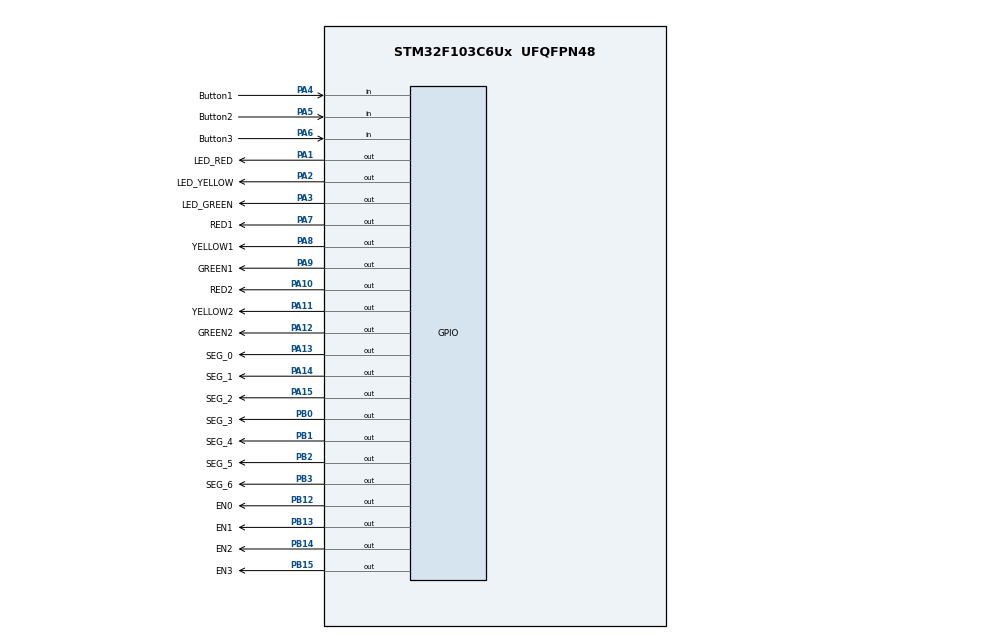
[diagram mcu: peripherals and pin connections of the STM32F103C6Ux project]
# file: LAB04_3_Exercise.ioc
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Mcu.Family=STM32F1
Mcu.Name=STM32F103C6Ux
Mcu.Package=UFQFPN48
NVIC.PriorityGroup=NVIC_PRIORITYGROUP_4
NVIC.TIM2_IRQn=true\:0\:0\:false\:false\:true\:true\:true
PA1.GPIO_Label=LED_RED
PA1.Signal=GPIO_Output
PA10.GPIO_Label=RED2
PA10.Signal=GPIO_Output
PA11.GPIO_Label=YELLOW2
PA11.Signal=GPIO_Output
PA12.GPIO_Label=GREEN2
PA12.Signal=GPIO_Output
PA13.GPIO_Label=SEG_0
PA13.Signal=GPIO_Output
PA14.GPIO_Label=SEG_1
PA14.Signal=GPIO_Output
PA15.GPIO_Label=SEG_2
PA15.Signal=GPIO_Output
PA2.GPIO_Label=LED_YELLOW
PA2.Signal=GPIO_Output
PA3.GPIO_Label=LED_GREEN
PA3.Signal=GPIO_Output
PA4.GPIO_Label=Button1
PA4.GPIO_PuPd=GPIO_PULLUP
PA4.Signal=GPIO_Input
PA5.GPIO_Label=Button2
PA5.GPIO_PuPd=GPIO_PULLUP
PA5.Signal=GPIO_Input
PA6.GPIO_Label=Button3
PA6.GPIO_PuPd=GPIO_PULLUP
PA6.Signal=GPIO_Input
PA7.GPIO_Label=RED1
PA7.Signal=GPIO_Output
PA8.GPIO_Label=YELLOW1
PA8.Signal=GPIO_Output
PA9.GPIO_Label=GREEN1
PA9.Signal=GPIO_Output
PB0.GPIO_Label=SEG_3
PB0.Signal=GPIO_Output
PB1.GPIO_Label=SEG_4
PB1.Signal=GPIO_Output
PB12.GPIO_Label=EN0
PB12.Signal=GPIO_Output
PB13.GPIO_Label=EN1
PB13.Signal=GPIO_Output
PB14.GPIO_Label=EN2
PB14.Signal=GPIO_Output
PB15.GPIO_Label=EN3
PB15.Signal=GPIO_Output
PB2.GPIO_Label=SEG_5
PB2.Signal=GPIO_Output
PB3.GPIO_Label=SEG_6
PB3.Signal=GPIO_Output
ProjectManager.HeapSize=0x200
ProjectManager.StackSize=0x400
ProjectManager.TargetToolchain=STM32CubeIDE
RCC.APB1Freq_Value=8000000
RCC.APB2Freq_Value=8000000
TIM2.Period=9
TIM2.Prescaler=7999
VP_SYS_VS_ND.Mode=No_Debug
VP_TIM2_VS_ClockSourceINT.Mode=Internal
board=custom

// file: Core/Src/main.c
/* USER CODE BEGIN Header */
/**
  ******************************************************************************
  * @file           : main.c
  * @brief          : Main program body
  ******************************************************************************
  * @attention
  *
  * <h2><center>&copy; Copyright (c) 2024 STMicroelectronics.
  * All rights reserved.</center></h2>
  *
  * This software component is licensed by ST under BSD 3-Clause license,
  * the "License"; You may not use this file except in compliance with the
  * License. You may obtain a copy of the License at:
  *                        opensource.org/licenses/BSD-3-Clause
  *
  ******************************************************************************
  */
/* USER CODE END Header */
#include "main.h"

/* USER CODE BEGIN Includes */
#include "software_timer.h"
#include "button.h"
#include "fsm_automatic.h"
#include "fsm_manual.h"
#include "fsm_setting.h"
#include "led7_segment.h"
#include "global.h"
#include "scheduler.h"
/* USER CODE END Includes */

TIM_HandleTypeDef htim2;

void SystemClock_Config(void);
static void MX_GPIO_Init(void);
static void MX_TIM2_Init(void);

/* USER CODE BEGIN 0 */
void leddebug(){
	  HAL_GPIO_TogglePin(LED_RED_GPIO_Port, LED_RED_Pin);
}
/* USER CODE END 0 */

int main(void)
{

  /* MCU Configuration--------------------------------------------------------*/

  /* Reset of all peripherals, Initializes the Flash interface and the Systick. */
  HAL_Init();

  /* Configure the system clock */
  SystemClock_Config();

  /* Initialize all configured peripherals */
  MX_GPIO_Init();
  MX_TIM2_Init();
  /* USER CODE BEGIN 2 */
  HAL_TIM_Base_Start_IT(&htim2);
  SCH_Init();
  System_Initilization();
  /* USER CODE END 2 */

  /* Infinite loop */
  /* USER CODE BEGIN WHILE */
  SCH_Add_Task(leddebug, 0, 500);
  SCH_Add_Task(getKeyInput, 1, 10);

  SCH_Add_Task(fsm_setting_run, 2, 10);
  SCH_Add_Task(fsm_automatic_run, 3, 10);
  //SCH_Add_Task(display_led7seg, 5, 250);
  SCH_Add_Task(fsm_manual_run, 4, 10);
  //STATUS_7SEG = INIT;
  //STATUS_MODE = MODE1;
  //STATUS_MODE = MODE2;
  while (1)
  {
    /* USER CODE END WHILE */

    /* USER CODE BEGIN 3 */

	  // TEST BUTTON
//	  if(isButtonPressed(0) == 1) {
//		  HAL_GPIO_TogglePin(LED_YELLOW_GPIO_Port, LED_YELLOW_Pin);
//	  }
//	  if(isButtonPressed(1) == 1) {
//		  HAL_GPIO_TogglePin(LED_YELLOW_GPIO_Port, LED_YELLOW_Pin);
//	  }
//	  if(isButtonPressed(2) == 1) {
//		  HAL_GPIO_TogglePin(LED_YELLOW_GPIO_Port, LED_YELLOW_Pin);
//	  }
	  SCH_Dispatch_Tasks();
  }
  /* USER CODE END 3 */
}

void SystemClock_Config(void)
{
  RCC_OscInitTypeDef RCC_OscInitStruct = {0};
  RCC_ClkInitTypeDef RCC_ClkInitStruct = {0};

  /** Initializes the RCC Oscillators according to the specified parameters
  * in the RCC_OscInitTypeDef structure.
  */
  RCC_OscInitStruct.OscillatorType = RCC_OSCILLATORTYPE_HSI;
  RCC_OscInitStruct.HSIState = RCC_HSI_ON;
  RCC_OscInitStruct.HSICalibrationValue = RCC_HSICALIBRATION_DEFAULT;
  RCC_OscInitStruct.PLL.PLLState = RCC_PLL_NONE;
  if (HAL_RCC_OscConfig(&RCC_OscInitStruct) != HAL_OK)
  {
    Error_Handler();
  }
  /** Initializes the CPU, AHB and APB buses clocks
  */
  RCC_ClkInitStruct.ClockType = RCC_CLOCKTYPE_HCLK|RCC_CLOCKTYPE_SYSCLK
                              |RCC_CLOCKTYPE_PCLK1|RCC_CLOCKTYPE_PCLK2;
  RCC_ClkInitStruct.SYSCLKSource = RCC_SYSCLKSOURCE_HSI;
  RCC_ClkInitStruct.AHBCLKDivider = RCC_SYSCLK_DIV1;
  RCC_ClkInitStruct.APB1CLKDivider = RCC_HCLK_DIV1;
  RCC_ClkInitStruct.APB2CLKDivider = RCC_HCLK_DIV1;

  if (HAL_RCC_ClockConfig(&RCC_ClkInitStruct, FLASH_LATENCY_0) != HAL_OK)
  {
    Error_Handler();
  }
}

static void MX_TIM2_Init(void)
{

  TIM_ClockConfigTypeDef sClockSourceConfig = {0};
  TIM_MasterConfigTypeDef sMasterConfig = {0};

  htim2.Instance = TIM2;
  htim2.Init.Prescaler = 7999;
  htim2.Init.CounterMode = TIM_COUNTERMODE_UP;
  htim2.Init.Period = 9;
  htim2.Init.ClockDivision = TIM_CLOCKDIVISION_DIV1;
  htim2.Init.AutoReloadPreload = TIM_AUTORELOAD_PRELOAD_DISABLE;
  if (HAL_TIM_Base_Init(&htim2) != HAL_OK)
  {
    Error_Handler();
  }
  sClockSourceConfig.ClockSource = TIM_CLOCKSOURCE_INTERNAL;
  if (HAL_TIM_ConfigClockSource(&htim2, &sClockSourceConfig) != HAL_OK)
  {
    Error_Handler();
  }
  sMasterConfig.MasterOutputTrigger = TIM_TRGO_RESET;
  sMasterConfig.MasterSlaveMode = TIM_MASTERSLAVEMODE_DISABLE;
  if (HAL_TIMEx_MasterConfigSynchronization(&htim2, &sMasterConfig) != HAL_OK)
  {
    Error_Handler();
  }

}

static void MX_GPIO_Init(void)
{
  GPIO_InitTypeDef GPIO_InitStruct = {0};

  /* GPIO Ports Clock Enable */
  __HAL_RCC_GPIOA_CLK_ENABLE();
  __HAL_RCC_GPIOB_CLK_ENABLE();

  /*Configure GPIO pin Output Level */
  HAL_GPIO_WritePin(GPIOA, LED_RED_Pin|LED_YELLOW_Pin|LED_GREEN_Pin|RED1_Pin
                          |YELLOW1_Pin|GREEN1_Pin|RED2_Pin|YELLOW2_Pin
                          |GREEN2_Pin|SEG_0_Pin|SEG_1_Pin|SEG_2_Pin, GPIO_PIN_RESET);

  /*Configure GPIO pin Output Level */
  HAL_GPIO_WritePin(GPIOB, SEG_3_Pin|SEG_4_Pin|SEG_5_Pin|EN0_Pin
                          |EN1_Pin|EN2_Pin|EN3_Pin|SEG_6_Pin, GPIO_PIN_RESET);

  /*Configure GPIO pins : LED_RED_Pin LED_YELLOW_Pin LED_GREEN_Pin RED1_Pin
                           YELLOW1_Pin GREEN1_Pin RED2_Pin YELLOW2_Pin
                           GREEN2_Pin SEG_0_Pin SEG_1_Pin SEG_2_Pin */
  GPIO_InitStruct.Pin = LED_RED_Pin|LED_YELLOW_Pin|LED_GREEN_Pin|RED1_Pin
                          |YELLOW1_Pin|GREEN1_Pin|RED2_Pin|YELLOW2_Pin
                          |GREEN2_Pin|SEG_0_Pin|SEG_1_Pin|SEG_2_Pin;
  GPIO_InitStruct.Mode = GPIO_MODE_OUTPUT_PP;
  GPIO_InitStruct.Pull = GPIO_NOPULL;
  GPIO_InitStruct.Speed = GPIO_SPEED_FREQ_LOW;
  HAL_GPIO_Init(GPIOA, &GPIO_InitStruct);

  /*Configure GPIO pins : Button1_Pin Button2_Pin Button3_Pin */
  GPIO_InitStruct.Pin = Button1_Pin|Button2_Pin|Button3_Pin;
  GPIO_InitStruct.Mode = GPIO_MODE_INPUT;
  GPIO_InitStruct.Pull = GPIO_PULLUP;
  HAL_GPIO_Init(GPIOA, &GPIO_InitStruct);

  /*Configure GPIO pins : SEG_3_Pin SEG_4_Pin SEG_5_Pin EN0_Pin
                           EN1_Pin EN2_Pin EN3_Pin SEG_6_Pin */
  GPIO_InitStruct.Pin = SEG_3_Pin|SEG_4_Pin|SEG_5_Pin|EN0_Pin
                          |EN1_Pin|EN2_Pin|EN3_Pin|SEG_6_Pin;
  GPIO_InitStruct.Mode = GPIO_MODE_OUTPUT_PP;
  GPIO_InitStruct.Pull = GPIO_NOPULL;
  GPIO_InitStruct.Speed = GPIO_SPEED_FREQ_LOW;
  HAL_GPIO_Init(GPIOB, &GPIO_InitStruct);

}

/* USER CODE BEGIN 4 */
void HAL_TIM_PeriodElapsedCallback(TIM_HandleTypeDef *htim)
{
	SCH_Update();
//	getKeyInput();
}

/* USER CODE END 4 */

void Error_Handler(void)
{
  __disable_irq();
  while (1)
  {
  }
}

/************************ (C) COPYRIGHT STMicroelectronics *****END OF FILE****/
